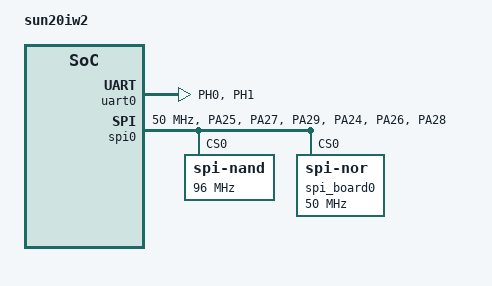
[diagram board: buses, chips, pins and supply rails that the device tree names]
/*
 * Allwinner Technology CO., Ltd. sun20iw2p1 soc board.
 *
 * soc board support.
 */

/dts-v1/;

#include <dt-bindings/interrupt-controller/arm-gic.h>
#include <dt-bindings/gpio/gpio.h>


/ {
	model = "sun20iw2";
	compatible = "allwinner,sun20iw2p1";
	interrupt-parent = <&wakeupgen>;
	#address-cells = <2>;
	#size-cells = <2>;

	aliases {
		serial0 = &uart0;
		twi0 = &twi0;
		twi1 = &twi1;
		spi0 = &spi0;
		spi1 = &spi1;
	};

	gic: interrupt-controller@03020000 {
		compatible = "arm,cortex-a15-gic", "arm,cortex-a9-gic";
		#interrupt-cells = <3>;
		#address-cells = <0>;
		device_type = "gic";
		interrupt-controller;
		reg = <0x0 0x03021000 0 0x1000>, /* GIC Dist */
		      <0x0 0x03022000 0 0x2000>, /* GIC CPU */
		      <0x0 0x03024000 0 0x2000>, /* GIC VCPU Control */
		      <0x0 0x03026000 0 0x2000>; /* GIC VCPU */
		interrupts = <GIC_PPI 9 0xf04>; /* GIC Maintenence IRQ */
		interrupt-parent = <&gic>;
	};
	wakeupgen: interrupt-controller@0 {
		compatible = "allwinner,sunxi-wakeupgen";
		interrupt-controller;
		#interrupt-cells = <3>;
		interrupt-parent = <&gic>;
	};

	soc: soc@03000000 {
		compatible = "simple-bus";
		#address-cells = <2>;
		#size-cells = <2>;
		ranges;
		device_type = "soc";

		target: target{
			device_type = "target";
			boot_clock = <24>;	/*CPU boot frequency, Unit: MHz*/
			storage_type = <3>; /*boot medium, 0-nand, 1-card0, 2-card2, -1(defualt)auto scan*/
			burn_key = <0>;		/*1:support burn key; 0:not support burn key*/

		};

		platform: platform{
			device_type = "platform";
			eraseflag = <1>;	/*support erase flash when efex*/
		};

		pio: pinctrl@0300b000 {
			compatible = "allwinner,sun20iw2p1-pinctrl";
			reg = <0x0 0x0300b000 0x0 0x400>;
			interrupts = <GIC_SPI 43 IRQ_TYPE_LEVEL_HIGH>,
				     <GIC_SPI 44 IRQ_TYPE_LEVEL_HIGH>,
				     <GIC_SPI 46 IRQ_TYPE_LEVEL_HIGH>,
				     <GIC_SPI 47 IRQ_TYPE_LEVEL_HIGH>;
			device_type = "pio";
			/*clocks = <&clk_pio>;*/
			gpio-controller;
			interrupt-controller;
			#interrupt-cells = <3>;
			#size-cells = <0>;
			#gpio-cells = <6>;

			vdevice_pins_a: vdevice@0 {
				allwinner,pins = "PE0", "PE1";
				allwinner,function = "vdevice";
				allwinner,muxsel = <5>;
				allwinner,drive = <1>;
				allwinner,pull = <1>;
			};

			uart0_pins_a: uart0@0 {
				allwinner,pins = "PH0", "PH1";
				allwinner,pname = "uart0_tx", "uart0_rx";
				allwinner,function = "uart0";
				allwinner,muxsel = <3>;
				allwinner,drive = <1>;
				allwinner,pull = <1>;
			};

			uart0_pins_b: uart0@1 {
				allwinner,pins = "PH0", "PH1";
				allwinner,function = "io_disabled";
				allwinner,muxsel = <7>;
				allwinner,drive = <1>;
				allwinner,pull = <0>;
			};

			uart1_pins_a: uart1@0 {
				allwinner,pins = "PG6", "PG7", "PG8", "PG9";
				allwinner,pname = "uart1_tx", "uart1_rx",
						  "uart1_rts", "uart1_cts";
				allwinner,function = "uart1";
				allwinner,muxsel = <2>;
				allwinner,drive = <1>;
				allwinner,pull = <1>;
			};

			uart1_pins_b: uart1@1 {
				allwinner,pins = "PG6", "PG7", "PG8", "PG9";
				allwinner,function = "io_disabled";
				allwinner,muxsel = <7>;
				allwinner,drive = <1>;
				allwinner,pull = <0>;
			};

			uart2_pins_a: uart2@0 {
				allwinner,pins = "PB0", "PB1", "PB2", "PB3";
				allwinner,pname = "uart2_tx", "uart2_rx",
						  "uart2_rts", "uart2_cts";
				allwinner,function = "uart2";
				allwinner,muxsel = <2>;
				allwinner,drive = <1>;
				allwinner,pull = <1>;
			};

			uart2_pins_b: uart2@1 {
				allwinner,pins = "PB0", "PB1", "PB2", "PB3";
				allwinner,function = "io_disabled";
				allwinner,muxsel = <7>;
				allwinner,drive = <1>;
				allwinner,pull = <0>;
			};

			uart3_pins_a: uart3@0 {
				allwinner,pins = "PH4", "PH5", "PH6", "PH7";
				allwinner,pname = "uart3_tx", "uart3_rx",
						  "uart3_rts", "uart3_cts";
				allwinner,function = "uart3";
				allwinner,muxsel = <2>;
				allwinner,drive = <1>;
				allwinner,pull = <1>;
			};

			uart3_pins_b: uart3@1 {
				allwinner,pins = "PH4", "PH5", "PH6", "PH7";
				allwinner,function = "io_disabled";
				allwinner,muxsel = <7>;
				allwinner,drive = <1>;
				allwinner,pull = <0>;
			};

			twi0_pins_a: twi0@0 {
				allwinner,pins = "PH0", "PH1";
				allwinner,pname = "twi0_scl", "twi0_sda";
				allwinner,function = "twi0";
				allwinner,muxsel = <2>;
				allwinner,drive = <1>;
				allwinner,pull = <0>;
			};

			twi0_pins_b: twi0@1 {
				allwinner,pins = "PH0", "PH1";
				allwinner,function = "io_disabled";
				allwinner,muxsel = <7>;
				allwinner,drive = <1>;
				allwinner,pull = <0>;
			};

			twi1_pins_a: twi1@0 {
				allwinner,pins = "PB8", "PB9";
				allwinner,pname = "twi1_scl", "twi1_sda";
				allwinner,function = "twi1";
				allwinner,muxsel = <4>;
				allwinner,drive = <1>;
				allwinner,pull = <0>;
			};

			twi1_pins_b: twi1@1 {
				allwinner,pins = "PB8", "PB9";
				allwinner,function = "io_disabled";
				allwinner,muxsel = <7>;
				allwinner,drive = <1>;
				allwinner,pull = <0>;
			};

			spi0_pins_a: spi0@0 {
				//allwinner,pins = "PB8", "PB9", "PB10", "PB11", "PB13";
				allwinner,pins = "PA25", "PA27", "PA29", "PA24", "PA26";
				allwinner,pname = "spi0_wp", "spi0_hold", "spi0_mosi", "spi0_miso", "spi0_sclk";
				allwinner,function = "spi0";
				allwinner,muxsel = <3>;
				allwinner,drive = <1>;
				allwinner,pull = <0>;
			};

			spi0_pins_b: spi0@1 {
				//allwinner,pins = "PB12";
				allwinner,pins = "PA28";
				allwinner,pname = "spi0_cs0";
				allwinner,function = "spi0";
				allwinner,muxsel = <3>;
				allwinner,drive = <1>;
				allwinner,pull = <1>; 	// only CS should be pulled up
			};

			spi0_pins_c: spi0@2 {
				allwinner,pins = "PB4", "PB5", "PB6", "PB15";
				allwinner,function = "io_disabled";
				allwinner,muxsel = <7>;
				allwinner,drive = <1>;
				allwinner,pull = <0>;
			};

			spi1_pins_a: spi1@0 {
				allwinner,pins = "PH5", "PH6", "PH7";
				allwinner,pname = "spi1_sclk", "spi1_mosi",
						  "spi1_miso";
				allwinner,function = "spi1";
				allwinner,muxsel = <3>;
				allwinner,drive = <1>;
				allwinner,pull = <0>;
			};

			spi1_pins_b: spi1@1 {
				allwinner,pins = "PH4";
				allwinner,pname = "spi1_cs0";
				allwinner,function = "spi1";
				allwinner,muxsel = <3>;
				allwinner,drive = <1>;
				allwinner,pull = <1>; // only CS should be pulled up
			};

			spi1_pins_c: spi1@2 {
				allwinner,pins = "PH4", "PH5", "PH6", "PH7";
				allwinner,function = "io_disabled";
				allwinner,muxsel = <7>;
				allwinner,drive = <1>;
				allwinner,pull = <0>;
			};

		uart0: uart@05000000 {
			compatible = "allwinner,sun8i-uart";
			device_type = "uart0";
			reg = <0x0 0x05000000 0x0 0x400>;
			interrupts = <GIC_SPI 76 IRQ_TYPE_LEVEL_HIGH>;
			/*clocks = <&clk_uart0>;*/
			pinctrl-names = "default", "sleep";
			pinctrl-0 = <&uart0_pins_a>;
			pinctrl-1 = <&uart0_pins_b>;
			uart0_port = <0>;
			uart0_type = <2>;
			status = "okay";
		};

		twi0: twi@0x05002000{
			#address-cells = <1>;
			#size-cells = <0>;
			compatible = "allwinner,sun8i-twi";
			device_type = "twi0";
			reg = <0x0 0x05002000 0x0 0x400>;
			interrupts = <GIC_SPI 70 IRQ_TYPE_LEVEL_HIGH>;
			/*clocks = <&clk_twi0>;*/
			clock-frequency = <400000>;
			pinctrl-names = "default", "sleep";
			pinctrl-0 = <&twi0_pins_a>;
			pinctrl-1 = <&twi0_pins_b>;
			status = "disabled";
		};

		twi1: twi@0x05002400{
			#address-cells = <1>;
			#size-cells = <0>;
			compatible = "allwinner,sun8i-twi";
			device_type = "twi1";
			reg = <0x0 0x05002400 0x0 0x400>;
			interrupts = <GIC_SPI 71 IRQ_TYPE_LEVEL_HIGH>;
			/*clocks = <&clk_twi1>;*/
			clock-frequency = <100000>;
			pinctrl-names = "default", "sleep";
			pinctrl-0 = <&twi1_pins_a>;
			pinctrl-1 = <&twi1_pins_b>;
			status = "disabled";
		};

		spi0: spi@05010000 {
			#address-cells = <1>;
			#size-cells = <0>;
			compatible = "allwinner,sun8i-spi";
			device_type = "spi0";
			reg = <0x0 0x05010000 0x0 0x1000>;
			interrupts = <GIC_SPI 81 IRQ_TYPE_LEVEL_HIGH>;
			/*clocks = <&clk_pll_periph0>, <&clk_spi0>;*/
			clock-frequency = <50000000>;
			pinctrl-names = "default", "sleep";
			pinctrl-0 = <&spi0_pins_a &spi0_pins_b>;
			pinctrl-1 = <&spi0_pins_c>;
			spi0_cs_number = <2>;
			spi0_cs_bitmap = <3>;
			status = "okay";

			spi-nand@0 {
				compatible = "spi-nand";
				/*spi-max-frequency=<0x5F5E100>;*/
				/*spi-max-frequency = <0x2FAF080>;*/
				spi-max-frequency=<0x5B8D800>;
				reg = <0x0>;
				spi-rx-bus-width=<0x4>;
				spi-tx-bus-width=<0x4>;
				status="okay";
			};

			spi_board0 {
				device_type = "spi_board0";
				compatible = "spi-nor";
				spi-max-frequency = <0x2FAF080>;
				reg = <0x0>;
				spi-rx-bus-width = <0x1>;
				spi-tx-bus-width = <0x1>;
				status = "okay";
			};
		};

		spi1: spi@05011000 {
			#address-cells = <1>;
			#size-cells = <0>;
			compatible = "allwinner,sun8i-spi";
			device_type = "spi1";
			reg = <0x0 0x05011000 0x0 0x1000>;
			interrupts = <GIC_SPI 82 IRQ_TYPE_LEVEL_HIGH>;
			/*clocks = <&clk_pll_periph0>, <&clk_spi1>;*/
			clock-frequency = <100000000>;
			pinctrl-names = "default", "sleep";
			pinctrl-0 = <&spi1_pins_a &spi1_pins_b>;
			pinctrl-1 = <&spi1_pins_c>;
			spi1_cs_number = <1>;
			spi1_cs_bitmap = <1>;
			status = "disabled";
		};
	};

		sdc0_pins_a:sdc0_pins_a@0 {
			allwinner,pins = "PA27", "PA26", "PA29",
			"PA25", "PA24", "PA28";
			allwinner,function = "sdc0";
			allwinner,muxsel = <2>;
			allwinner,drive = <3>;
			allwinner,pull = <1>;
			pins = "PA27", "PA26", "PA29",
			"PA25", "PA24", "PA28";
			function = "sdc0";
			drive-strength = <30>;
			bias-pull-up;
			power-source = <3300>;
		};

		card0_boot_para:card0_boot_para@0 {
				device_type = "card0_boot_para";
				card_ctrl = <0x0>;
				card_high_speed = <0x1>;
				card_line = <0x4>;
				pinctrl-0 = <&sdc0_pins_a>;
				/*sdc_ex_dly_used = <0x2>;
				sdc_io_1v8 = <0x1>;
				sdc_tm4_win_th = <0x8>;
				sdc_tm4_hs200_max_freq = <150>;
				sdc_tm4_hs400_max_freq = <100>;
				sdc_type = "tm4";*/
		};
	};
};
